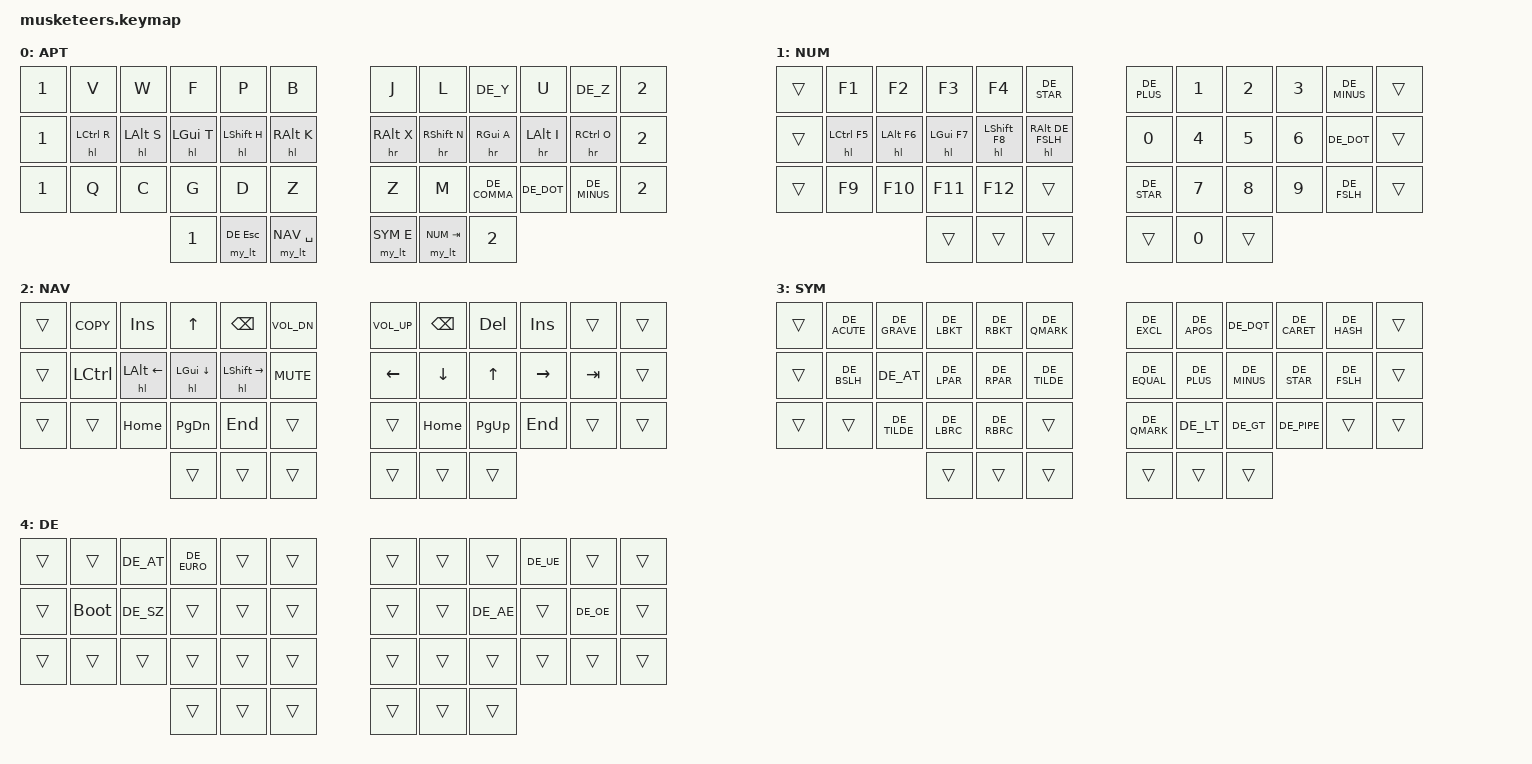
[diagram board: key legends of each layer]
/*
 * Copyright (c) 2021 The ZMK Contributors
 *
 * SPDX-License-Identifier: MIT
 */

#include <behaviors.dtsi>
#include <dt-bindings/zmk/keys.h>
#include <dt-bindings/zmk/bt.h>
#include <dt-bindings/zmk/outputs.h>
#include "base_endgame.h"

&caps_word {
    continue-list = <UNDERSCORE MINUS BSPC DEL>;
};


/ {
    chosen {
          zmk,battery = &vbatt;
    };

    vbatt: vbatt {
            compatible = "zmk,battery-nrf-vddh";
            label = "VBATT";
    };


    keymap {
        compatible = "zmk,keymap";

        aptmak {
            label = "APT";

            bindings = <
                &kp N1  &kp V          &kp W          &kp F          &kp P          &kp B          &kp J          &kp L          &kp DE_Y       &kp U          &kp DE_Z &kp N2
                &kp N1  &hl LCTRL R    &hl LALT S     &hl LGUI T     &hl LSHFT H    &hl RALT K     &hr RALT X     &hr RSHFT N    &hr RGUI A     &hr LALT I     &hr RCTRL O &kp N2
                &kp N1  &kp Q          &kp C          &kp G          &kp D          &kp Z          &kp Z          &kp M          &kp DE_COMMA   &kp DE_DOT     &kp DE_MINUS &kp N2
                                                      &kp N1   &my_lt DE ESC  &my_lt NAV SPACE  &my_lt SYM E  &my_lt NUM TAB     &kp N2
            >;
        };
        numbers {
            label = "NUM";

            bindings = <
                &trans &kp F1         &kp F2         &kp F3         &kp F4         &kp DE_STAR        &kp DE_PLUS     &kp N1         &kp N2         &kp N3     &kp DE_MINUS &trans
                &trans &hl LCTRL F5   &hl LALT F6    &hl LGUI F7    &hl LSHFT F8   &hl RALT DE_FSLH   &kp N0          &kp N4         &kp N5         &kp N6     &kp DE_DOT &trans
                &trans &kp F9         &kp F10        &kp F11        &kp F12        &trans             &kp DE_STAR     &kp N7         &kp N8         &kp N9     &kp DE_FSLH &trans
                &trans                                       &trans         &trans             &trans          &kp N0                                   &trans
            >;
        };
        navigation {
            label = "NAV";

            bindings = <
                &trans &kp COPY       &kp INSERT     &kp UP         &kp BSPC        &kp C_VOL_DN   &kp C_VOL_UP   &kp BSPC       &kp DEL        &kp INSERT     &trans &trans
                &trans &kp LCTRL      &hl LALT LEFT  &hl LGUI DOWN  &hl LSHFT RIGHT &kp C_MUTE     &kp LEFT       &kp DOWN       &kp UP         &kp RIGHT      &kp TAB &trans
                &trans &trans         &kp HOME       &kp PG_DN      &kp END         &trans         &trans         &kp HOME       &kp PG_UP      &kp END        &trans &trans
                &trans                                       &trans          &trans         &trans         &trans                                       &trans
            >;
        };
        symbols {
            label = "SYM";

            bindings = <
                &trans &kp DE_ACUTE   &kp DE_GRAVE   &kp DE_LBKT    &kp DE_RBKT      &kp DE_QMARK   &kp DE_EXCL     &kp DE_APOS    &kp DE_DQT     &kp DE_CARET   &kp DE_HASH &trans
                &trans &kp DE_BSLH    &kp DE_AT      &kp DE_LPAR    &kp DE_RPAR      &kp DE_TILDE   &kp DE_EQUAL    &kp DE_PLUS    &kp DE_MINUS   &kp DE_STAR    &kp DE_FSLH &trans
                &trans &trans         &kp DE_TILDE   &kp DE_LBRC    &kp DE_RBRC      &trans         &kp DE_QMARK    &kp DE_LT      &kp DE_GT      &kp DE_PIPE    &trans &trans
                &trans                                       &trans           &trans         &trans          &trans                                       &trans
            >;
        };
        function {
            label = "DE";

            bindings = <
                &trans &trans         &kp DE_AT      &kp DE_EURO    &trans         &trans         &trans       &trans        &trans        &kp DE_UE     &trans &trans
                &trans &bootloader    &kp DE_SZ      &trans         &trans         &trans         &trans       &trans        &kp DE_AE     &trans        &kp DE_OE &trans
                &trans &trans         &trans         &trans         &trans         &trans         &trans       &trans        &trans        &trans        &trans &trans
                &trans                                       &trans         &trans         &trans       &trans                                    &trans
            >;
        };

    };
};
